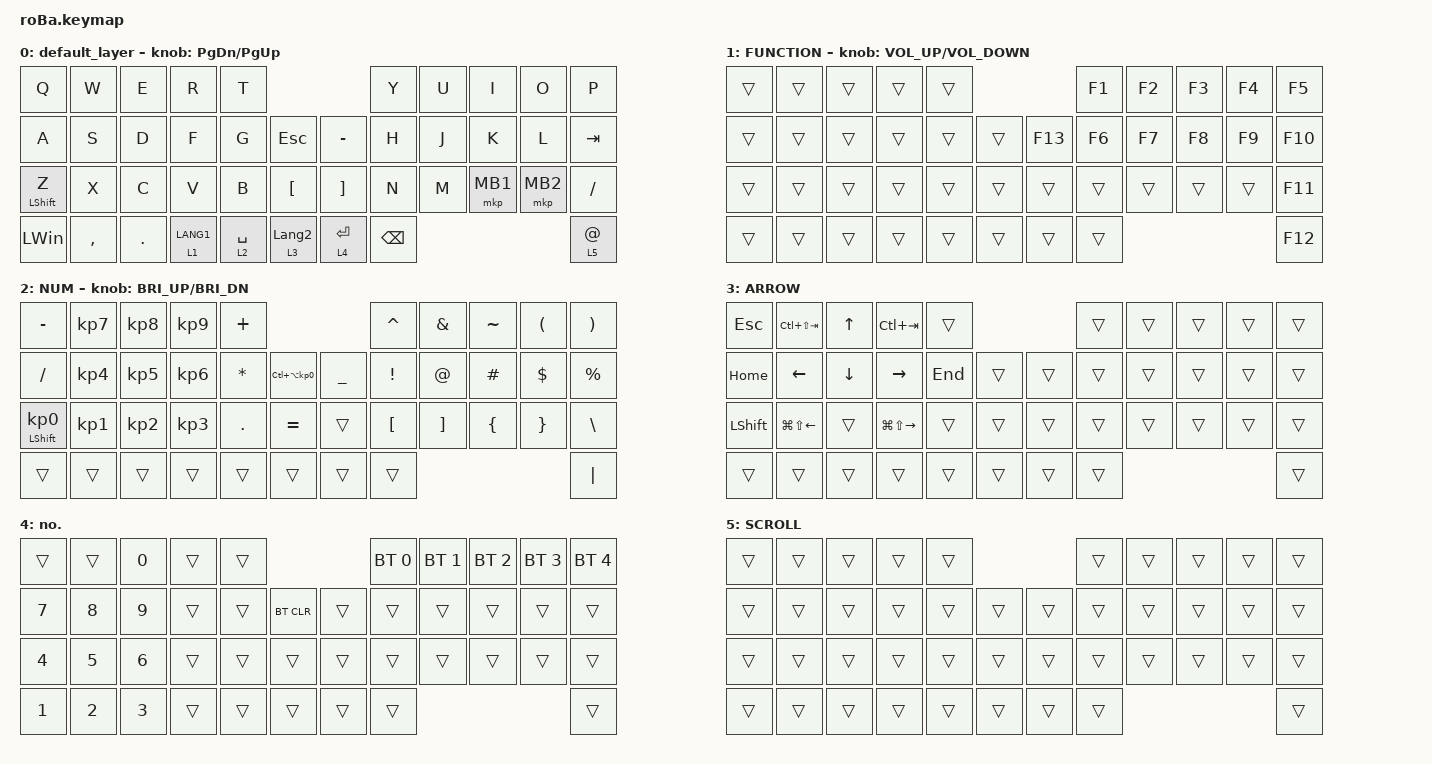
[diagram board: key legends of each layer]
#include <behaviors.dtsi>
#include <dt-bindings/zmk/bt.h>
#include <dt-bindings/zmk/keys.h>
#include <dt-bindings/zmk/pointing.h>

&mt {
    flavor = "balanced";
    quick-tap-ms = <0>;
};

&trackball {
    automouse-layer = <4>;
    scroll-layers = <5>;

    // arrows {
    //     layers = <3>;
    //     bindings =
    //         <&kp RIGHT_ARROW>,
    //         <&kp LEFT_ARROW>,
    //         <&kp UP_ARROW>,
    //         <&kp DOWN_ARROW>;
    //     tick = <10>;
    //     wait-ms = <5>;
    //     tap-ms = <5>;
    // };
};

/ {
    combos {
        compatible = "zmk,combos";

        tab {
            bindings = <&kp TAB>;
            key-positions = <11 12>;
        };

        shift_tab {
            bindings = <&kp LS(TAB)>;
            key-positions = <12 13>;
        };

        muhennkann {
            bindings = <&to_layer_0 INT_MUHENKAN>;
            key-positions = <11 10>;
        };

        double_quotation {
            bindings = <&kp DOUBLE_QUOTES>;
            key-positions = <20 21>;
        };

        eq {
            bindings = <&kp EQUAL>;
            key-positions = <24 25>;
        };
    };

    macros {
        to_layer_0: to_layer_0 {
            compatible = "zmk,behavior-macro-one-param";
            #binding-cells = <1>;
            bindings = <&to 0 &macro_param_1to1 &kp MACRO_PLACEHOLDER>;
            label = "TO_LAYER_0";
        };
    };

    behaviors {
        lt_to_layer_0: lt_to_layer_0 {
            compatible = "zmk,behavior-hold-tap";
            label = "LAYER_TAP_TO_0";
            bindings = <&mo>, <&to_layer_0>;

            #binding-cells = <2>;
            tapping-term-ms = <200>;
        };
    };

    keymap {
        compatible = "zmk,keymap";

        default_layer {
            bindings = <
&kp Q         &kp W      &kp E    &kp R        &kp T                                           &kp Y          &kp U  &kp I     &kp O     &kp P
&kp A         &kp S      &kp D    &kp F        &kp G        &kp ESC               &kp MINUS    &kp H          &kp J  &kp K     &kp L     &kp TAB
&mt LSHIFT Z  &kp X      &kp C    &kp V        &kp B        &kp LBKT              &kp RBKT     &kp N          &kp M  &mkp MB1  &mkp MB2  &kp SLASH
&kp LWIN      &kp COMMA  &kp DOT  &lt 1 LANG1  &lt 2 SPACE  &lt 3 LANGUAGE_2      &lt 4 ENTER  &kp BACKSPACE                             &lt 5 AT
            >;

            sensor-bindings = <&inc_dec_kp PG_DN PG_UP>;
        };

        FUNCTION {
            bindings = <
&trans  &trans  &trans  &trans  &trans                       &kp F1  &kp F2  &kp F3  &kp F4  &kp F5
&trans  &trans  &trans  &trans  &trans  &trans      &kp F13  &kp F6  &kp F7  &kp F8  &kp F9  &kp F10
&trans  &trans  &trans  &trans  &trans  &trans      &trans   &trans  &trans  &trans  &trans  &kp F11
&trans  &trans  &trans  &trans  &trans  &trans      &trans   &trans                          &kp F12
            >;

            sensor-bindings = <&inc_dec_kp C_VOLUME_UP C_VOLUME_DOWN>;
        };

        NUM {
            bindings = <
&kp MINUS                   &kp KP_NUMBER_7  &kp KP_NUMBER_8  &kp KP_NUMBER_9  &kp PLUS                                                   &kp CARET         &kp AMPERSAND      &kp TILDE       &kp LEFT_PARENTHESIS  &kp RIGHT_PARENTHESIS
&kp SLASH                   &kp KP_NUMBER_4  &kp KP_NUMBER_5  &kp KP_NUMBER_6  &kp ASTERISK  &kp LC(LA(KP_NUMBER_0))      &kp UNDERSCORE  &kp EXCLAMATION   &kp AT_SIGN        &kp HASH        &kp DOLLAR            &kp PERCENT
&mt LEFT_SHIFT KP_NUMBER_0  &kp KP_NUMBER_1  &kp KP_NUMBER_2  &kp KP_NUMBER_3  &kp PERIOD    &kp EQUAL                    &trans          &kp LEFT_BRACKET  &kp RIGHT_BRACKET  &kp LEFT_BRACE  &kp RIGHT_BRACE       &kp BACKSLASH
&trans                      &trans           &trans           &trans           &trans        &trans                       &trans          &trans                                                                     &kp PIPE
            >;

            sensor-bindings = <&inc_dec_kp C_BRI_UP C_BRI_DN>;
        };

        ARROW {
            bindings = <
&kp ESCAPE      &kp LC(LS(TAB))         &kp UP_ARROW    &kp LC(TAB)              &trans                       &trans  &trans  &trans  &trans  &trans
&kp HOME        &kp LEFT_ARROW          &kp DOWN_ARROW  &kp RIGHT_ARROW          &kp END  &trans      &trans  &trans  &trans  &trans  &trans  &trans
&kp LEFT_SHIFT  &kp LG(LS(LEFT_ARROW))  &trans          &kp LG(LS(RIGHT_ARROW))  &trans   &trans      &trans  &trans  &trans  &trans  &trans  &trans
&trans          &trans                  &trans          &trans                   &trans   &trans      &trans  &trans                          &trans
            >;
        };

        no. {
            bindings = <
&trans  &trans  &kp N0  &trans  &trans                          &bt BT_SEL 0  &bt BT_SEL 1  &bt BT_SEL 2  &bt BT_SEL 3  &bt BT_SEL 4
&kp N7  &kp N8  &kp N9  &trans  &trans  &bt BT_CLR      &trans  &trans        &trans        &trans        &trans        &trans
&kp N4  &kp N5  &kp N6  &trans  &trans  &trans          &trans  &trans        &trans        &trans        &trans        &trans
&kp N1  &kp N2  &kp N3  &trans  &trans  &trans          &trans  &trans                                                  &trans
            >;
        };

        SCROLL {
            bindings = <
&trans  &trans  &trans  &trans  &trans                      &trans  &trans  &trans  &trans  &trans
&trans  &trans  &trans  &trans  &trans  &trans      &trans  &trans  &trans  &trans  &trans  &trans
&trans  &trans  &trans  &trans  &trans  &trans      &trans  &trans  &trans  &trans  &trans  &trans
&trans  &trans  &trans  &trans  &trans  &trans      &trans  &trans                          &trans
            >;
        };
    };
};
